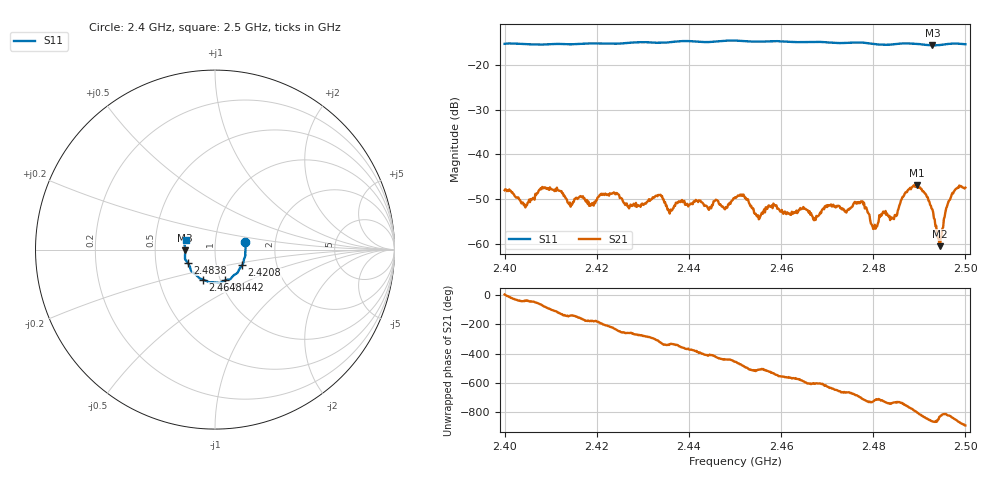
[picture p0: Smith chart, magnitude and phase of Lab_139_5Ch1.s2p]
# Hz S RI R 50
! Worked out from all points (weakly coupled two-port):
!   601 points, 2.4 GHz to 2.5 GHz, reference 50 ohm
!   highest |S21| = -46.91 dB at 2.4895 GHz (marker M1); lowest = -60.6 dB at 2.4945 GHz (marker M2)
!   lowest |S11| = -15.6 dB at 2.4928 GHz (marker M3), VSWR 1.40, Z = 35.8 - j0.357 ohm
!   |S11| at or under -10 dB: start of sweep to end of sweep
!   S12 and S22 are empty: the file has one direction only
!   S11 on the Smith chart (normalised r, x): 2.4 GHz: 1.40, +0.12; 2.4208 GHz: 1.33, -0.24; 2.4442 GHz: 1.05, -0.37; 2.4648 GHz: 0.83, -0.29; 2.4838 GHz: 0.73, -0.11; 2.5 GHz: 0.72, +0.08
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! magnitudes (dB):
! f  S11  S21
! 2.4 GHz  -15.3  -48.1
! 2.4045 GHz  -15.4  -51.9
! 2.4083 GHz  -15.4  -47.5
! 2.4167 GHz  -15.2  -49.5
! 2.4208 GHz  -15.2  -49.1
! 2.4272 GHz  -15.0  -51.7
! 2.4333 GHz  -15.0  -49.1
! 2.4358 GHz  -14.9  -53.3
! 2.4442 GHz  -14.9  -52.2
! 2.45 GHz  -14.5  -49.7
! 2.455 GHz  -14.8  -53.7
! 2.4648 GHz  -14.9  -51.8
! 2.4667 GHz  -14.8  -53.7
! 2.4772 GHz  -15.0  -50.9
! 2.4802 GHz  -15.3  -56.6
! 2.4833 GHz  -15.5  -53.9
! 2.4838 GHz  -15.4  -54.1
! 2.4895 GHz  -15.3  -46.9
! 2.4928 GHz  -15.6  -52.3
! 2.4945 GHz  -15.5  -60.6
! 2.4967 GHz  -15.2  -50.2
! 2.5 GHz  -15.4  -47.5
